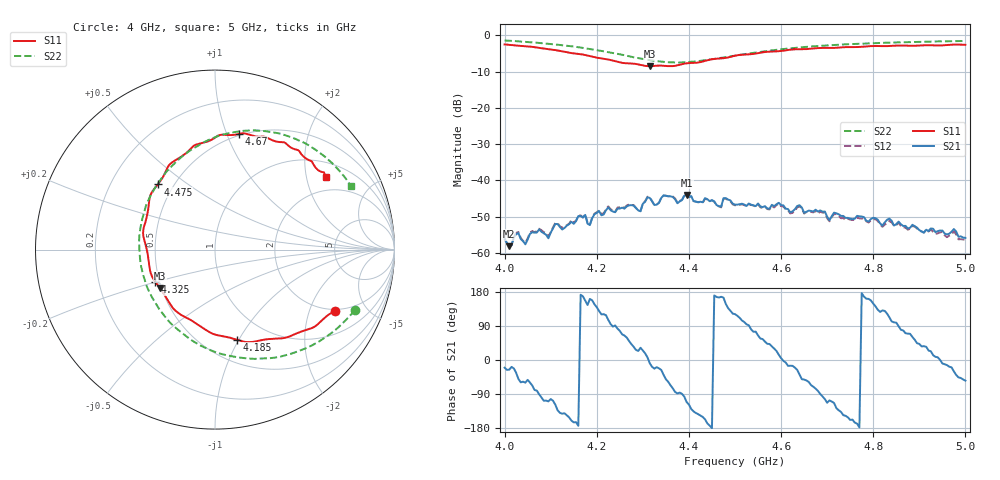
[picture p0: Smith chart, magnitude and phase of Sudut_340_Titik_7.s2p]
# Hz S RI R 50
! CMT, C1220, 16058040, 17.2.0/1
! Date: 15/08/2018 12:06:16
! Data: Format (Calibration Info)
! Freq  S11: Re/Im (F2)  S21: Re/Im (F2)  S12: Re/Im (F2)  S22: Re/Im (F2)
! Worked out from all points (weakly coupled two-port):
!   201 points, 4 GHz to 5 GHz, reference 50 ohm
!   highest |S21| = -44.05 dB at 4.395 GHz (marker M1); lowest = -58.2 dB at 4.01 GHz (marker M2)
!   lowest |S11| = -8.5 dB at 4.315 GHz (marker M3), VSWR 2.20, Z = 24.5 - j12.3 ohm
!   |S11| at or under -10 dB: nowhere
!   |S22| runs from -7.5 to -1.4 dB; largest |S21 - S12| = 0.00031
!   S11 on the Smith chart (normalised r, x): 4 GHz: 1.94, -2.99; 4.185 GHz: 0.72, -0.98; 4.325 GHz: 0.47, -0.20; 4.475 GHz: 0.41, +0.39; 4.67 GHz: 0.49, +1.10; 5 GHz: 1.46, +2.61
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4e9  0.6661 -0.3397  0.00144 -0.000534  0.00149 -0.000498  0.7781 -0.337
4.01e9  0.6491 -0.3519  0.00111 -0.000533  0.00114 -0.000526  0.7599 -0.3601
4.025e9  0.6169 -0.3752  0.0015 -0.000999  0.00163 -0.000955  0.7304 -0.3913
4.045e9  0.5711 -0.4172  0.000661 -0.00113  0.000806 -0.00112  0.687 -0.4335
4.06e9  0.5366 -0.4384  0.000744 -0.00177  0.000843 -0.00181  0.6515 -0.4629
4.095e9  0.4312 -0.4771  -0.000521 -0.0015  -0.000521 -0.0016  0.5556 -0.5257
4.11e9  0.3836 -0.4928  -0.00117 -0.00221  -0.00122 -0.00228  0.5067 -0.5494
4.17e9  0.1705 -0.5147  -0.003 0.000637  -0.00302 0.000571  0.2846 -0.6057
4.185e9  0.1216 -0.5024  -0.00228 0.00078  -0.0023 0.000764  0.2217 -0.6089
4.205e9  0.0452 -0.4833  -0.00239 0.00292  -0.00246 0.00294  0.1348 -0.6008
4.295e9  -0.2551 -0.295  0.00316 0.002  0.00321 0.00202  -0.2469 -0.4105
4.315e9  -0.3058 -0.2163  0.00565 -0.00085  0.00572 -0.000903  -0.3105 -0.3315
4.325e9  -0.3329 -0.18  0.00421 -0.00177  0.00416 -0.00182  -0.3375 -0.2886
4.335e9  -0.3523 -0.1462  0.00454 -0.00184  0.00452 -0.00185  -0.3628 -0.2424
4.395e9  -0.4007 0.0904  -0.00225 -0.00586  -0.00244 -0.00588  -0.4227 0.0538
4.47e9  -0.3312 0.3472  -0.00422 0.000991  -0.0041 0.00105  -0.3155 0.3723
4.475e9  -0.3185 0.3631  -0.00546 0.00149  -0.0053 0.00168  -0.3041 0.3885
4.5e9  -0.2687 0.4477  -0.00238 0.00396  -0.00234 0.00387  -0.2417 0.4643
4.67e9  0.1321 0.6438  0.00123 -0.00351  0.00115 -0.00342  0.2342 0.6638
4.82e9  0.4066 0.5805  -0.00156 0.0018  -0.00143 0.00178  0.5461 0.5656
4.835e9  0.4341 0.5629  -0.00114 0.00273  -0.00112 0.00251  0.5701 0.5493
5e9  0.6177 0.4061  0.000935 -0.00131  0.000932 -0.00118  0.7564 0.3548
